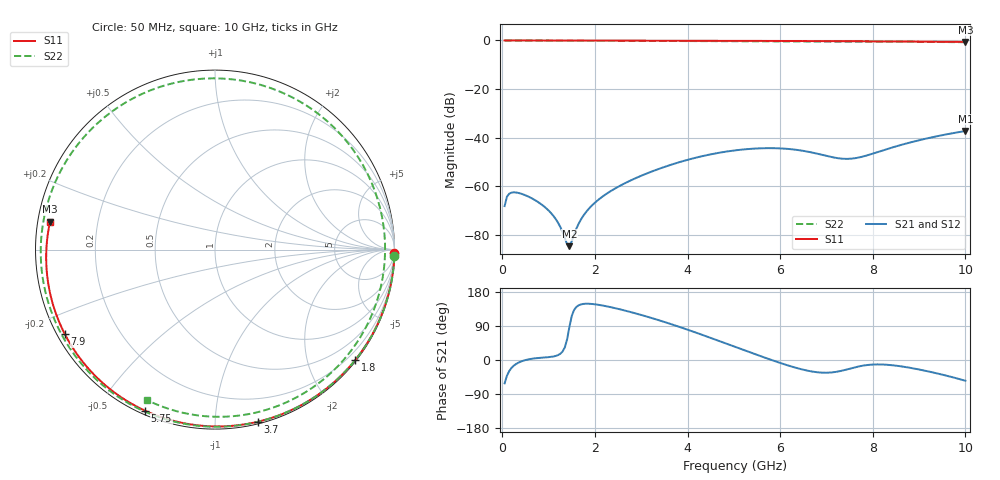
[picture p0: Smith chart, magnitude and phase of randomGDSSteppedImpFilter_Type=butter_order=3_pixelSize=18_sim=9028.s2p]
! freq	dB(S11)	phase(S11)	dB(S12)	phase(S12)
!  dB(S21)	phase(S21)	dB(S22)	phase(S22)
!S-par simulation data
#  GHz  S  DB  R 50
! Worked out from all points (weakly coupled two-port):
!   200 points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, 50 MHz to 10 GHz, reference 50 ohm
!   highest |S21| = -37.24 dB at 10 GHz (marker M1); lowest = -84.6 dB at 1.45 GHz (marker M2)
!   lowest |S11| = -0.6 dB at 10 GHz (marker M3), VSWR 28.41, Z = 1.77 + j4.18 ohm
!   |S11| at or under -10 dB: nowhere
!   |S22| runs from -0.7 to 0.0 dB; largest |S21 - S12| = 0
!   S11 on the Smith chart (normalised r, x): 50 MHz: open; 1.8 GHz: 0.03, -2.88; 3.7 GHz: 0.02, -1.28; 5.75 GHz: 0.02, -0.66; 7.9 GHz: 0.02, -0.26; 10 GHz: 0.04, +0.08
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0.05  -0.00 -1.1  -68.08 -61.5  -68.08 -61.5  -0.00 -2.1
0.2  -0.00 -4.3  -62.53 -20.7  -62.53 -20.7  -0.00 -8.3
0.55  -0.01 -11.9  -64.05 1.3  -64.05 1.3  -0.02 -22.8
0.95  -0.02 -20.4  -69.01 7.0  -69.01 7.0  -0.05 -39.1
1.35  -0.04 -28.9  -81.23 33.2  -81.23 33.2  -0.07 -55.3
1.45  -0.04 -31.0  -84.56 87.8  -84.56 87.8  -0.08 -59.3
1.55  -0.04 -33.1  -79.78 132.0  -79.78 132.0  -0.08 -63.3
1.75  -0.05 -37.3  -72.05 148.0  -72.05 148.0  -0.09 -71.3
1.8  -0.05 -38.3  -70.74 148.5  -70.74 148.5  -0.09 -73.3
2.6  -0.07 -54.6  -59.14 132.0  -59.14 132.0  -0.13 -105.3
3.4  -0.09 -70.3  -52.66 104.3  -52.66 104.3  -0.18 -138.1
3.7  -0.10 -76.1  -50.75 92.5  -50.75 92.5  -0.20 -151.0
4.4  -0.13 -89.2  -47.21 62.7  -47.21 62.7  -0.26 177.1
5.05  -0.15 -101.0  -45.12 33.6  -45.12 33.6  -0.32 143.8
5.75  -0.19 -113.4  -44.26 2.7  -44.26 2.7  -0.39 103.1
6.2  -0.22 -121.3  -44.63 -15.5  -44.63 -15.5  -0.42 74.6
6.7  -0.25 -129.9  -46.11 -30.6  -46.11 -30.6  -0.45 42.3
7.3  -0.30 -140.3  -48.53 -29.2  -48.53 -29.2  -0.46 5.1
7.9  -0.35 -150.7  -47.11 -13.0  -47.11 -13.0  -0.49 -28.3
8.35  -0.40 -158.6  -44.41 -13.0  -44.41 -13.0  -0.51 -50.4
9.1  -0.49 -172.2  -40.57 -27.5  -40.57 -27.5  -0.59 -82.1
10  -0.61 170.4  -37.24 -54.7  -37.24 -54.7  -0.73 -114.5
